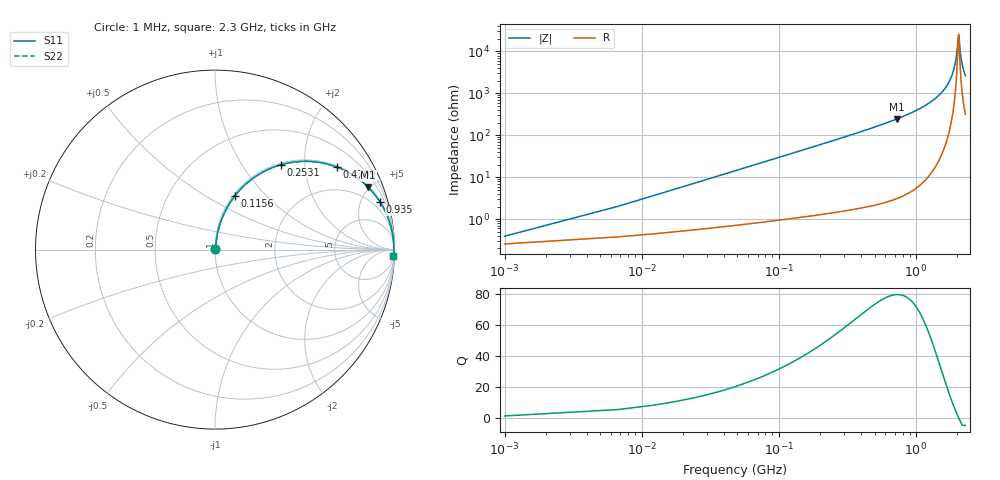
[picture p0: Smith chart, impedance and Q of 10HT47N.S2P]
! Coilcraft 1008HT-47N Chip Inductor
! 16 July 2002
# MHZ S MA R 50
!Freq  MagS11  AngS11  MagS21  AngS21  MagS12  AngS12  MagS22  AngS22
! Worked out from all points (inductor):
!   403 points, 1 MHz to 2.3 GHz, reference 50 ohm
!   read as one part in series: L = 47 nH near 12.46 MHz
!   highest Q = 79.6 at 723 MHz (marker M1), where L = 53.7 nH
!   self-resonance near 2.047 GHz
!   S11 on the Smith chart (normalised r, x): 1 MHz: 1.01, +0.01; 115.6 MHz: 1.02, +0.68; 253.1 MHz: 1.03, +1.52; 470.9 MHz: 1.04, +2.94; 935 MHz: 1.09, +6.97; 2.3 GHz: 7, -52
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1  0.003898 48.9  0.9974 -0.2  0.9974 -0.2  0.003898 48.9
18.19  0.05361 81.6  0.9936 -3.1  0.9936 -3.1  0.05361 81.6
35.38  0.1035 80.6  0.9884 -5.9  0.9884 -5.9  0.1035 80.6
69.76  0.2006 76.2  0.9718 -11.6  0.9718 -11.6  0.2006 76.2
115.6  0.3212 69.6  0.9377 -18.7  0.9377 -18.7  0.3212 69.6
253.12  0.5993 52.1  0.7894 -36.8  0.7894 -36.8  0.5993 52.1
384.91  0.7568 40.0  0.6423 -49.2  0.6423 -49.2  0.7568 40.0
470.86  0.8211 34.0  0.5594 -55.2  0.5594 -55.2  0.8211 34.0
722.98  0.9211 22.2  0.3779 -67.1  0.3779 -67.1  0.9211 22.2
768.82  0.9313 20.6  0.3526 -68.6  0.3526 -68.6  0.9313 20.6
934.99  0.9578 16.0  0.2749 -73.3  0.2749 -73.3  0.9578 16.0
1152.73  0.9773 11.3  0.1965 -77.7  0.1965 -77.7  0.9773 11.3
1536.64  0.9923 5.5  0.0961 -82.6  0.0961 -82.6  0.9923 5.5
1771.57  0.9954 2.8  0.04859 -83.2  0.04859 -83.2  0.9954 2.8
1920.55  0.9961 1.2  0.02211 -79.3  0.02211 -79.3  0.9961 1.2
1977.85  0.9962 0.7  0.01271 -72.1  0.01271 -72.1  0.9962 0.7
2035.15  0.9961 0.2  0.004755 -35.2  0.004755 -35.2  0.9961 0.2
2052.34  0.9961 -0.0  0.003917 0.2  0.003917 0.2  0.9961 -0.0
2063.8  0.9961 -0.1  0.004352 25.0  0.004352 25.0  0.9961 -0.1
2115.37  0.9959 -0.6  0.01075 67.2  0.01075 67.2  0.9959 -0.6
2155.48  0.9957 -0.9  0.01665 74.6  0.01665 74.6  0.9957 -0.9
2300  0.9948 -2.1  0.03775 81.0  0.03775 81.0  0.9948 -2.1
